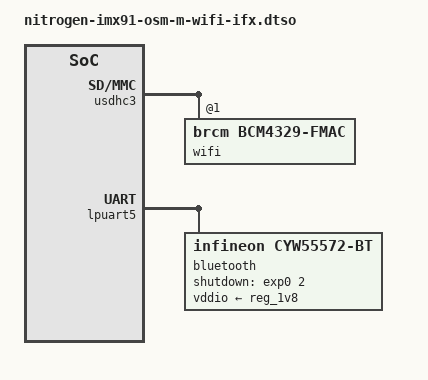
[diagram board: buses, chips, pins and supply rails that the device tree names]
// SPDX-License-Identifier: (GPL-2.0+ OR MIT)
/*
 * On-SOM SDIO LWBxx & IFxxx (Infineon CYW55572) Wi-Fi/BT
 *
 * Copyright 2026 Ezurio LLC
 */

/dts-v1/;
/plugin/;

#include <dt-bindings/gpio/gpio.h>

&reg_wifi_en {
	startup-delay-us = <350000>;
	off-on-delay-us = <10000>;
};

&usdhc3 { /* On-SOM Wi-Fi */
	status = "okay";

	#address-cells = <1>;
	#size-cells = <0>;

	wifi@1 {
		reg = <1>;
		compatible = "brcm,bcm4329-fmac";
	};
};

&lpuart5 { /* On-SOM BT HCI */
	status = "okay";

	bluetooth {
		compatible = "infineon,cyw55572-bt";
		vddio-supply = <&reg_1v8>;
		brcm,requires-autobaud-mode;
		max-speed = <3000000>;
		shutdown-gpios = <&exp0 2 GPIO_ACTIVE_HIGH>;	/* BT_EN */
	};
};
